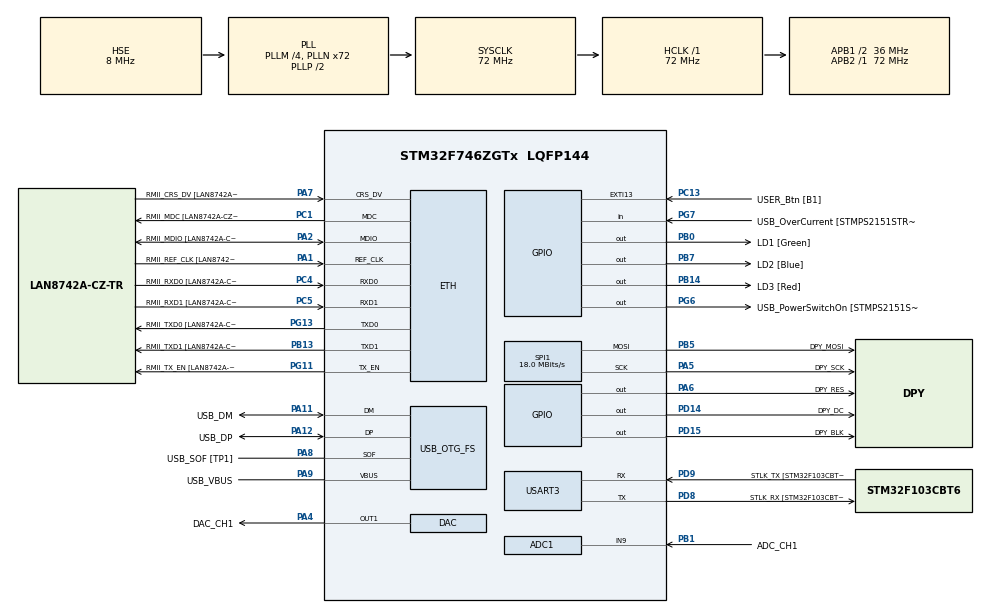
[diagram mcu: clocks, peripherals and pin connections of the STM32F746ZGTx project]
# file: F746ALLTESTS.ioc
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ADC1.Channel-0\#ChannelRegularConversion=ADC_CHANNEL_9
ADC1.ClockPrescaler=ADC_CLOCK_SYNC_PCLK_DIV2
ADC1.ContinuousConvMode=DISABLE
ADC1.DMAContinuousRequests=DISABLE
ADC1.DiscontinuousConvMode=DISABLE
ADC1.ExternalTrigConv=ADC_EXTERNALTRIGCONV_T4_TRGO
ADC1.NbrOfConversion=1
ADC1.NbrOfConversionFlag=1
ADC1.Rank-0\#ChannelRegularConversion=1
ADC1.SamplingTime-0\#ChannelRegularConversion=ADC_SAMPLETIME_144CYCLES
ADC1.ScanConvMode=ADC_SCAN_DISABLE
ADC1.master=1
Dma.ADC1.0.Direction=DMA_PERIPH_TO_MEMORY
Dma.ADC1.0.FIFOMode=DMA_FIFOMODE_ENABLE
Dma.ADC1.0.FIFOThreshold=DMA_FIFO_THRESHOLD_FULL
Dma.ADC1.0.Instance=DMA2_Stream0
Dma.ADC1.0.MemBurst=DMA_MBURST_SINGLE
Dma.ADC1.0.MemDataAlignment=DMA_MDATAALIGN_HALFWORD
Dma.ADC1.0.MemInc=DMA_MINC_ENABLE
Dma.ADC1.0.Mode=DMA_NORMAL
Dma.ADC1.0.PeriphBurst=DMA_PBURST_SINGLE
Dma.ADC1.0.PeriphDataAlignment=DMA_PDATAALIGN_HALFWORD
Dma.ADC1.0.PeriphInc=DMA_PINC_DISABLE
Dma.ADC1.0.Priority=DMA_PRIORITY_HIGH
Dma.MEMTOMEM.2.Direction=DMA_MEMORY_TO_MEMORY
Dma.MEMTOMEM.2.FIFOMode=DMA_FIFOMODE_ENABLE
Dma.MEMTOMEM.2.FIFOThreshold=DMA_FIFO_THRESHOLD_FULL
Dma.MEMTOMEM.2.Instance=DMA2_Stream1
Dma.MEMTOMEM.2.MemBurst=DMA_MBURST_SINGLE
Dma.MEMTOMEM.2.MemDataAlignment=DMA_MDATAALIGN_BYTE
Dma.MEMTOMEM.2.MemInc=DMA_MINC_ENABLE
Dma.MEMTOMEM.2.Mode=DMA_NORMAL
Dma.MEMTOMEM.2.PeriphBurst=DMA_PBURST_SINGLE
Dma.MEMTOMEM.2.PeriphDataAlignment=DMA_PDATAALIGN_BYTE
Dma.MEMTOMEM.2.PeriphInc=DMA_PINC_ENABLE
Dma.MEMTOMEM.2.Priority=DMA_PRIORITY_LOW
Dma.Request0=ADC1
Dma.Request1=SPI1_TX
Dma.Request2=MEMTOMEM
Dma.SPI1_TX.1.Direction=DMA_MEMORY_TO_PERIPH
Dma.SPI1_TX.1.FIFOMode=DMA_FIFOMODE_ENABLE
Dma.SPI1_TX.1.FIFOThreshold=DMA_FIFO_THRESHOLD_FULL
Dma.SPI1_TX.1.Instance=DMA2_Stream3
Dma.SPI1_TX.1.MemBurst=DMA_MBURST_SINGLE
Dma.SPI1_TX.1.MemDataAlignment=DMA_MDATAALIGN_BYTE
Dma.SPI1_TX.1.MemInc=DMA_MINC_ENABLE
Dma.SPI1_TX.1.Mode=DMA_NORMAL
Dma.SPI1_TX.1.PeriphBurst=DMA_PBURST_SINGLE
Dma.SPI1_TX.1.PeriphDataAlignment=DMA_PDATAALIGN_BYTE
Dma.SPI1_TX.1.PeriphInc=DMA_PINC_DISABLE
Dma.SPI1_TX.1.Priority=DMA_PRIORITY_VERY_HIGH
ETH.MediaInterface=HAL_ETH_RMII_MODE
ETH.PHY_Name=LAN8742A_PHY_ADDRESS
ETH.PHY_Value=0
ETH.PhyAddress=0
Mcu.Family=STM32F7
Mcu.Name=STM32F746ZGTx
Mcu.Package=LQFP144
NVIC.ADC_IRQn=true\:0\:0\:false\:false\:true\:true\:true\:true
NVIC.DMA2_Stream0_IRQn=true\:0\:0\:false\:false\:true\:false\:true\:true
NVIC.DMA2_Stream3_IRQn=true\:0\:0\:false\:false\:true\:false\:true\:true
NVIC.PriorityGroup=NVIC_PRIORITYGROUP_4
NVIC.SPI1_IRQn=true\:0\:0\:false\:false\:true\:true\:true\:true
NVIC.TIM3_IRQn=true\:0\:0\:false\:false\:true\:true\:true\:true
NVIC.TIM5_IRQn=true\:0\:0\:false\:false\:true\:true\:true\:true
PA1.GPIO_Label=RMII_REF_CLK [LAN8742A-CZ-TR_REFCLK0]
PA1.Mode=RMII
PA1.Signal=ETH_REF_CLK
PA10.GPIO_Label=USB_ID
PA10.Signal=USB_OTG_FS_ID
PA11.GPIO_Label=USB_DM
PA11.Mode=Device_Only
PA11.Signal=USB_OTG_FS_DM
PA12.GPIO_Label=USB_DP
PA12.Mode=Device_Only
PA12.Signal=USB_OTG_FS_DP
PA13.GPIO_Label=TMS
PA13.Mode=Serial_Wire
PA13.Signal=SYS_JTMS-SWDIO
PA14.GPIO_Label=TCK
PA14.Mode=Serial_Wire
PA14.Signal=SYS_JTCK-SWCLK
PA2.GPIO_Label=RMII_MDIO [LAN8742A-CZ-TR_MDIO]
PA2.Mode=RMII
PA2.Signal=ETH_MDIO
PA4.GPIO_Label=DAC_CH1
PA4.Signal=COMP_DAC1_group
PA5.GPIO_Label=DPY_SCK
PA5.Mode=TX_Only_Simplex_Unidirect_Master
PA5.Signal=SPI1_SCK
PA6.GPIO_Label=DPY_RES
PA6.Signal=GPIO_Output
PA7.GPIO_Label=RMII_CRS_DV [LAN8742A-CZ-TR_CRS_DV]
PA7.Mode=RMII
PA7.Signal=ETH_CRS_DV
PA8.GPIO_Label=USB_SOF [TP1]
PA8.Mode=Activate_SOF_FS
PA8.Signal=USB_OTG_FS_SOF
PA9.GPIO_Label=USB_VBUS
PA9.Mode=Activate_VBUS
PA9.Signal=USB_OTG_FS_VBUS
PB0.GPIO_Label=LD1 [Green]
PB0.Signal=GPIO_Output
PB1.GPIO_Label=ADC_CH1
PB1.Signal=ADCx_IN9
PB13.GPIO_Label=RMII_TXD1 [LAN8742A-CZ-TR_TXD1]
PB13.Mode=RMII
PB13.Signal=ETH_TXD1
PB14.GPIO_Label=LD3 [Red]
PB14.Signal=GPIO_Output
PB3.GPIO_Label=SW0
PB3.Signal=SYS_JTDO-SWO
PB5.GPIO_Label=DPY_MOSI
PB5.Mode=TX_Only_Simplex_Unidirect_Master
PB5.Signal=SPI1_MOSI
PB7.GPIO_Label=LD2 [Blue]
PB7.Signal=GPIO_Output
PC1.GPIO_Label=RMII_MDC [LAN8742A-CZ-TR_MDC]
PC1.Mode=RMII
PC1.Signal=ETH_MDC
PC13.GPIO_Label=USER_Btn [B1]
PC13.Signal=GPXTI13
PC14/OSC32_IN.Mode=LSE-External-Oscillator
PC14/OSC32_IN.Signal=RCC_OSC32_IN
PC15/OSC32_OUT.Mode=LSE-External-Oscillator
PC15/OSC32_OUT.Signal=RCC_OSC32_OUT
PC4.GPIO_Label=RMII_RXD0 [LAN8742A-CZ-TR_RXD0]
PC4.Mode=RMII
PC4.Signal=ETH_RXD0
PC5.GPIO_Label=RMII_RXD1 [LAN8742A-CZ-TR_RXD1]
PC5.Mode=RMII
PC5.Signal=ETH_RXD1
PD14.GPIO_Label=DPY_DC
PD14.Signal=GPIO_Output
PD15.GPIO_Label=DPY_BLK
PD15.Signal=GPIO_Output
PD8.GPIO_Label=STLK_RX [STM32F103CBT6_PA3]
PD8.GPIO_PuPd=GPIO_PULLUP
PD8.Mode=Asynchronous
PD8.Signal=USART3_TX
PD9.GPIO_Label=STLK_TX [STM32F103CBT6_PA2]
PD9.GPIO_PuPd=GPIO_PULLUP
PD9.Mode=Asynchronous
PD9.Signal=USART3_RX
PG11.GPIO_Label=RMII_TX_EN [LAN8742A-CZ-TR_TXEN]
PG11.Mode=RMII
PG11.Signal=ETH_TX_EN
PG13.GPIO_Label=RMII_TXD0 [LAN8742A-CZ-TR_TXD0]
PG13.Mode=RMII
PG13.Signal=ETH_TXD0
PG6.GPIO_Label=USB_PowerSwitchOn [STMPS2151STR_EN]
PG6.Signal=GPIO_Output
PG7.GPIO_Label=USB_OverCurrent [STMPS2151STR_FAULT]
PG7.Signal=GPIO_Input
PH0/OSC_IN.GPIO_Label=MCO [STM32F103CBT6_PA8]
PH0/OSC_IN.Mode=HSE-External-Clock-Source
PH0/OSC_IN.Signal=RCC_OSC_IN
PH1/OSC_OUT.Mode=HSE-External-Clock-Source
PH1/OSC_OUT.Signal=RCC_OSC_OUT
ProjectManager.HeapSize=0x200
ProjectManager.StackSize=0x400
ProjectManager.TargetToolchain=STM32CubeIDE
RCC.48MHZClocksFreq_Value=24000000
RCC.AHBFreq_Value=72000000
RCC.APB1CLKDivider=RCC_HCLK_DIV2
RCC.APB1Freq_Value=36000000
RCC.APB1TimFreq_Value=72000000
RCC.APB2Freq_Value=72000000
RCC.APB2TimFreq_Value=72000000
RCC.CortexFreq_Value=72000000
RCC.HCLKFreq_Value=72000000
RCC.HSE_VALUE=8000000
RCC.HSI_VALUE=16000000
RCC.PLLM=4
RCC.PLLMUL=RCC_PLL_MUL9
RCC.PLLN=72
RCC.PLLQ=3
RCC.PRESCALERUSB=RCC_USBCLKSOURCE_PLL_DIV1_5
RCC.SYSCLKFreq_VALUE=72000000
RCC.SYSCLKSource=RCC_SYSCLKSOURCE_PLLCLK
RCC.SYSCLKSourceVirtual=RCC_SYSCLKSOURCE_PLLCLK
RCC.USBFreq_Value=48000000
RCC.VCOOutputFreq_Value=144000000
SH.ADCx_IN9.0=ADC1_IN9,IN9
SH.COMP_DAC1_group.0=DAC_OUT1,DAC_OUT1
SPI1.BaudRatePrescaler=SPI_BAUDRATEPRESCALER_4
SPI1.CLKPolarity=SPI_POLARITY_HIGH
SPI1.CalculateBaudRate=18.0 MBits/s
SPI1.DataSize=SPI_DATASIZE_8BIT
SPI1.Direction=SPI_DIRECTION_2LINES
SPI1.Mode=SPI_MODE_MASTER
SPI1.NSSPMode=SPI_NSS_PULSE_DISABLE
SPI1.VirtualType=VM_MASTER
TIM3.AutoReloadPreload=TIM_AUTORELOAD_PRELOAD_ENABLE
TIM3.Period=7200
TIM3.Prescaler=10000
TIM4.TIM_MasterOutputTrigger=TIM_TRGO_UPDATE
TIM5.AutoReloadPreload=TIM_AUTORELOAD_PRELOAD_ENABLE
USART3.VirtualMode-Asynchronous=VM_ASYNC
USB_OTG_FS.VirtualMode=Device_Only
VP_TIM3_VS_ClockSourceINT.Mode=Internal
VP_TIM4_VS_ClockSourceINT.Mode=Internal
VP_TIM5_VS_ClockSourceINT.Mode=Internal
board=NUCLEO-F746ZG

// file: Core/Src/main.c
/* USER CODE BEGIN Header */
/**
 ******************************************************************************
 * @file           : main.c
 * @brief          : Main program body
 ******************************************************************************
 * @attention
 *
 * Copyright (c) 2023 STMicroelectronics.
 * All rights reserved.
 *
 * This software is licensed under terms that can be found in the LICENSE file
 * in the root directory of this software component.
 * If no LICENSE file comes with this software, it is provided AS-IS.
 *
 ******************************************************************************
 */
/* USER CODE END Header */
#include "main.h"
#include "string.h"

/* USER CODE BEGIN Includes */
#include <stdio.h> // removes warning: implicit declaration of a function
#include "st7789.h"
/* USER CODE END Includes */

/* USER CODE BEGIN PTD */
typedef struct
{
	float Tcyc;
	float D;
	float Vnorm;
	float Tacc;
	float Tnorm;
	float v1;
	float t1;
	float t2;
	float t3;
	float a1;
	float a2;
	float a3;
	float angle;
	float velocity;
	uint8_t running;
	uint8_t stopping;
	uint8_t start_rq;
	uint32_t start_rq_cycles;
	uint32_t encoder[10];
} MOT_Control_Params;
/* USER CODE END PTD */

/* USER CODE BEGIN PD */
#define ADC_TIMEOUT       100
#define ADC_VREF          3.3     // V
#define MOT_ACCEL         6.28    // rad/s^2
#define MOT_MAX_CYC_TIME  10.0    // s
#define MOT_MAX_DPT       1.0     // 0..1 (0..100%)
#define MOT_ENCODER_360   2.92    // V
#define MOT_CTRL_Kp       2.0     // proportional coefficient
#define PI                3.1415926

#define ADC_BITS      0x0FFF
#define ADC_0V_VALUE  0
#define ADC_1V_VALUE  1241
#define ADC_2V_VALUE  2482
#define ADC_3V_VALUE  3723

#define TIM5_MHZ  72
/* USER CODE END PD */

#if defined ( __ICCARM__ ) /*!< IAR Compiler */
#pragma location=0x2004c000
ETH_DMADescTypeDef  DMARxDscrTab[ETH_RX_DESC_CNT]; /* Ethernet Rx DMA Descriptors */
#pragma location=0x2004c0a0
ETH_DMADescTypeDef  DMATxDscrTab[ETH_TX_DESC_CNT]; /* Ethernet Tx DMA Descriptors */

#elif defined ( __CC_ARM )  /* MDK ARM Compiler */

__attribute__((at(0x2004c000))) ETH_DMADescTypeDef  DMARxDscrTab[ETH_RX_DESC_CNT]; /* Ethernet Rx DMA Descriptors */
__attribute__((at(0x2004c0a0))) ETH_DMADescTypeDef  DMATxDscrTab[ETH_TX_DESC_CNT]; /* Ethernet Tx DMA Descriptors */

#elif defined ( __GNUC__ ) /* GNU Compiler */
ETH_DMADescTypeDef DMARxDscrTab[ETH_RX_DESC_CNT] __attribute__((section(".RxDecripSection"))); /* Ethernet Rx DMA Descriptors */
ETH_DMADescTypeDef DMATxDscrTab[ETH_TX_DESC_CNT] __attribute__((section(".TxDecripSection")));   /* Ethernet Tx DMA Descriptors */

#endif

ETH_TxPacketConfig TxConfig;

ADC_HandleTypeDef hadc1;
DMA_HandleTypeDef hdma_adc1;

DAC_HandleTypeDef hdac;

ETH_HandleTypeDef heth;

SPI_HandleTypeDef hspi1;
DMA_HandleTypeDef hdma_spi1_tx;

TIM_HandleTypeDef htim3;
TIM_HandleTypeDef htim4;
TIM_HandleTypeDef htim5;

UART_HandleTypeDef huart3;

PCD_HandleTypeDef hpcd_USB_OTG_FS;

DMA_HandleTypeDef hdma_memtomem_dma2_stream1;
/* USER CODE BEGIN PV */
uint32_t GLOBAL_VAR_32BIT = 0;
// ADCx conversion results
uint32_t ADC1_VALUE = 0;
uint32_t ADC2_VALUE = 0;
uint32_t ADC3_VALUE = 0;
// Control
MOT_Control_Params MOT;
// Time measurements
uint32_t LOOP_START_TIME = 0;
uint32_t LOOP_EXEC_TIME = 0;
uint32_t LOOP_CYCLE_TIME = 0;
uint32_t MAIN_START_TIME = 0;
uint32_t MAIN_EXEC_TIME = 0;
uint32_t MAIN_CYCLE_TIME = 0;

// Display diagnostic strings
char DPY_adc1[24];
char DPY_par0[24];
char DPY_par1[24];
char DPY_par2[24];
char DPY_par3[24];
char DPY_par4[24];
char DPY_par5[24];
char DPY_par6[24];
char DPY_par7[24];
char DPY_par8[24];
char DPY_par9[24];
uint32_t CycleCount = 0;
GPIO_PinState PS3 = GPIO_PIN_RESET;

//uint16_t adcBuf[BUFFER_LEN];             // this is where we'll store waveform data from ADC
uint16_t dpyBuf[BUFFER_LEN];             // this is where we'll store waveform data for display
uint16_t dpyBuf_prev[BUFFER_LEN];             // this is where we'll store previous waveform data for display
//volatile uint8_t finishedConversion = 0; // this lets us know when we're done capturing data
volatile uint32_t ADC_ConvCpltCallback_TimeStamp = 0;
volatile uint32_t ADC_ConvCycleTime = 0;
volatile uint32_t DPY_DisplayFBTime = 0;
volatile uint8_t dpyBufLocked = 0;

uint32_t adc_val;
/* USER CODE END PV */

void SystemClock_Config(void);
static void MX_GPIO_Init(void);
static void MX_DMA_Init(void);
static void MX_USART3_UART_Init(void);
static void MX_USB_OTG_FS_PCD_Init(void);
static void MX_ADC1_Init(void);
static void MX_SPI1_Init(void);
static void MX_DAC_Init(void);
static void MX_TIM5_Init(void);
static void MX_ETH_Init(void);
static void MX_TIM4_Init(void);
static void MX_TIM3_Init(void);

/* USER CODE BEGIN 0 */
// Display update
void DPY_ScreenUpdate()
{
	// Screen update

	ST7789_WriteString_Fast(0, 0, (char*) DPY_adc1, Font_11x18, YELLOW, BLUE);
	ST7789_WriteString_Fast(0, 15, (char*) DPY_par0, Font_11x18, YELLOW, BLUE);
	ST7789_WriteString_Fast(0, 30, (char*) DPY_par1, Font_11x18, YELLOW, BLUE);
	ST7789_WriteString_Fast(0, 45, (char*) DPY_par2, Font_11x18, YELLOW, BLUE);
	ST7789_WriteString_Fast(0, 60, (char*) DPY_par3, Font_11x18, YELLOW, BLUE);
	ST7789_WriteString_Fast(0, 75, (char*) DPY_par4, Font_11x18, YELLOW, BLUE);
	ST7789_WriteString_Fast(0, 90, (char*) DPY_par5, Font_11x18, YELLOW, BLUE);
	ST7789_WriteString_Fast(0, 105, (char*) DPY_par6, Font_11x18, YELLOW, BLUE);
	ST7789_WriteString_Fast(0, 120, (char*) DPY_par7, Font_11x18, YELLOW, BLUE);
	ST7789_WriteString_Fast(0, 135, (char*) DPY_par8, Font_11x18, YELLOW, BLUE);
	ST7789_WriteString_Fast(0, 150, (char*) DPY_par9, Font_11x18, YELLOW, BLUE);

}

void DrawScope(uint16_t *buff, uint16_t length, uint16_t color)
{
	uint16_t i, x0, y0, x1, y1;

	x0 = 0;
	y0 = ST7789_HEIGHT * buff[0] / ADC_BITS;

	for (i = 0; i < length; i++)
	{
		if (i >= ST7789_WIDTH)
			break;
		x1 = i;
		y1 = ST7789_HEIGHT * buff[i] / ADC_BITS;
		ST7789_DrawLine_BUF(x0, y0, x1, y1, color);
		x0 = x1;
		y0 = y1;

	}
}
/* USER CODE END 0 */

int main(void)
{

  /* MCU Configuration--------------------------------------------------------*/

  /* Reset of all peripherals, Initializes the Flash interface and the Systick. */
  HAL_Init();

  /* Configure the system clock */
  SystemClock_Config();

  /* Initialize all configured peripherals */
  MX_GPIO_Init();
  MX_DMA_Init();
  MX_USART3_UART_Init();
  MX_USB_OTG_FS_PCD_Init();
  MX_ADC1_Init();
  MX_SPI1_Init();
  MX_DAC_Init();
  MX_TIM5_Init();
  MX_ETH_Init();
  MX_TIM4_Init();
  MX_TIM3_Init();
  /* USER CODE BEGIN 2 */
  scopeInit();
	HAL_Delay(3000);
	{
		uint8_t tx[] = "-----------------------------------------\r\n";
		HAL_UART_Transmit(&huart3, tx, sizeof(tx), 100);
	}

/*
	// Start timer TIM3 for framebuffer display
	if (HAL_TIM_Base_Start_IT(&htim3) != HAL_OK)
		Error_Handler();
*/ /*
	// Start timer TIM5 for microseconds counting
	if (HAL_TIM_Base_Start_IT(&htim5) != HAL_OK)
		Error_Handler();
*/ /*
	// start timer TIM4 for pwm generation
	if (HAL_TIM_PWM_Start(&htim4, TIM_CHANNEL_1) != HAL_OK)
		Error_Handler();

	memset(adcBuf, 0, sizeof(adcBuf));
	*/
  /* USER CODE END 2 */

  /* Infinite loop */
  /* USER CODE BEGIN WHILE */

	ST7789_Fill_Color_BUF(DARKBLUE);
/*
	{
		uint8_t tx[] = "HAL_ADC_Start_DMA() started...\r\n";
		HAL_UART_Transmit(&huart3, tx, sizeof(tx), 100);
	}

	finishedConversion = 0;
	if (HAL_ADC_Start_DMA(&hadc1, (uint32_t*) adcBuf, BUFFER_LEN) != HAL_OK)
		Error_Handler();

	while (!finishedConversion)	{};

	{
		uint8_t tx[] = "HAL_ADC_Start_DMA() conversion done.\r\n";
		HAL_UART_Transmit(&huart3, tx, sizeof(tx), 100);
	}
*/
	while (1)
	{
    /* USER CODE END WHILE */

    /* USER CODE BEGIN 3 */
		/*
		uint32_t timer_start = htim5.Instance->CNT;
		MAIN_CYCLE_TIME = htim5.Instance->CNT - MAIN_START_TIME;
		MAIN_START_TIME = timer_start;

		uint32_t timer_s1 = htim5.Instance->CNT;
		dpyBufLocked = 1;
		//DrawScope(dpyBuf_prev, BUFFER_LEN, BLACK);
		//DrawScope(dpyBuf, BUFFER_LEN, WHITE);
		memcpy(dpyBuf_prev, dpyBuf, sizeof(dpyBuf_prev));
		dpyBufLocked = 0;
		uint32_t timer_s2 = htim5.Instance->CNT;

		// Profiling
		MAIN_EXEC_TIME = htim5.Instance->CNT - MAIN_START_TIME;

		sprintf(DPY_adc1, "ADC Cycle = %d us", (int) ADC_ConvCycleTime);
		ST7789_WriteString_BUF(0, 0, DPY_adc1, Font_11x18, YELLOW, BLUE);

		sprintf(DPY_par0, "DPY FB Time = %d us", (int) DPY_DisplayFBTime);
		ST7789_WriteString_BUF(0, 15, DPY_par0, Font_11x18, YELLOW, BLUE);

		sprintf(DPY_par0, "Draw Time = %d us", (int) ((timer_s2 - timer_s1) / TIM5_MHZ));
		ST7789_WriteString_BUF(0, 30, DPY_par0, Font_11x18, YELLOW, BLUE);

		HAL_GPIO_TogglePin(LD3_GPIO_Port, LD3_Pin);

		uint32_t start = htim5.Instance->CNT;
		ST7789_Display_BUF();
		uint32_t finish = htim5.Instance->CNT;
		DPY_DisplayFBTime = (finish - start) / TIM5_MHZ;

		HAL_Delay(250);
		*/
		scopeLoop();
	}
  /* USER CODE END 3 */
}

void SystemClock_Config(void)
{
  RCC_OscInitTypeDef RCC_OscInitStruct = {0};
  RCC_ClkInitTypeDef RCC_ClkInitStruct = {0};

  /** Configure LSE Drive Capability
  */
  HAL_PWR_EnableBkUpAccess();

  /** Configure the main internal regulator output voltage
  */
  __HAL_RCC_PWR_CLK_ENABLE();
  __HAL_PWR_VOLTAGESCALING_CONFIG(PWR_REGULATOR_VOLTAGE_SCALE3);

  /** Initializes the RCC Oscillators according to the specified parameters
  * in the RCC_OscInitTypeDef structure.
  */
  RCC_OscInitStruct.OscillatorType = RCC_OSCILLATORTYPE_HSE;
  RCC_OscInitStruct.HSEState = RCC_HSE_BYPASS;
  RCC_OscInitStruct.PLL.PLLState = RCC_PLL_ON;
  RCC_OscInitStruct.PLL.PLLSource = RCC_PLLSOURCE_HSE;
  RCC_OscInitStruct.PLL.PLLM = 4;
  RCC_OscInitStruct.PLL.PLLN = 72;
  RCC_OscInitStruct.PLL.PLLP = RCC_PLLP_DIV2;
  RCC_OscInitStruct.PLL.PLLQ = 3;
  if (HAL_RCC_OscConfig(&RCC_OscInitStruct) != HAL_OK)
  {
    Error_Handler();
  }

  /** Initializes the CPU, AHB and APB buses clocks
  */
  RCC_ClkInitStruct.ClockType = RCC_CLOCKTYPE_HCLK|RCC_CLOCKTYPE_SYSCLK
                              |RCC_CLOCKTYPE_PCLK1|RCC_CLOCKTYPE_PCLK2;
  RCC_ClkInitStruct.SYSCLKSource = RCC_SYSCLKSOURCE_PLLCLK;
  RCC_ClkInitStruct.AHBCLKDivider = RCC_SYSCLK_DIV1;
  RCC_ClkInitStruct.APB1CLKDivider = RCC_HCLK_DIV2;
  RCC_ClkInitStruct.APB2CLKDivider = RCC_HCLK_DIV1;

  if (HAL_RCC_ClockConfig(&RCC_ClkInitStruct, FLASH_LATENCY_2) != HAL_OK)
  {
    Error_Handler();
  }
}

static void MX_ADC1_Init(void)
{

  ADC_ChannelConfTypeDef sConfig = {0};

  /** Configure the global features of the ADC (Clock, Resolution, Data Alignment and number of conversion)
  */
  hadc1.Instance = ADC1;
  hadc1.Init.ClockPrescaler = ADC_CLOCK_SYNC_PCLK_DIV2;
  hadc1.Init.Resolution = ADC_RESOLUTION_12B;
  hadc1.Init.ScanConvMode = ADC_SCAN_DISABLE;
  hadc1.Init.ContinuousConvMode = DISABLE;
  hadc1.Init.DiscontinuousConvMode = DISABLE;
  hadc1.Init.ExternalTrigConvEdge = ADC_EXTERNALTRIGCONVEDGE_RISING;
  hadc1.Init.ExternalTrigConv = ADC_EXTERNALTRIGCONV_T4_TRGO;
  hadc1.Init.DataAlign = ADC_DATAALIGN_RIGHT;
  hadc1.Init.NbrOfConversion = 1;
  hadc1.Init.DMAContinuousRequests = DISABLE;
  hadc1.Init.EOCSelection = ADC_EOC_SINGLE_CONV;
  if (HAL_ADC_Init(&hadc1) != HAL_OK)
  {
    Error_Handler();
  }

  /** Configure for the selected ADC regular channel its corresponding rank in the sequencer and its sample time.
  */
  sConfig.Channel = ADC_CHANNEL_9;
  sConfig.Rank = ADC_REGULAR_RANK_1;
  sConfig.SamplingTime = ADC_SAMPLETIME_144CYCLES;
  if (HAL_ADC_ConfigChannel(&hadc1, &sConfig) != HAL_OK)
  {
    Error_Handler();
  }

}

static void MX_DAC_Init(void)
{

  DAC_ChannelConfTypeDef sConfig = {0};

  /** DAC Initialization
  */
  hdac.Instance = DAC;
  if (HAL_DAC_Init(&hdac) != HAL_OK)
  {
    Error_Handler();
  }

  /** DAC channel OUT1 config
  */
  sConfig.DAC_Trigger = DAC_TRIGGER_NONE;
  sConfig.DAC_OutputBuffer = DAC_OUTPUTBUFFER_ENABLE;
  if (HAL_DAC_ConfigChannel(&hdac, &sConfig, DAC_CHANNEL_1) != HAL_OK)
  {
    Error_Handler();
  }

}

static void MX_ETH_Init(void)
{

   static uint8_t MACAddr[6];

  heth.Instance = ETH;
  MACAddr[0] = 0x00;
  MACAddr[1] = 0x80;
  MACAddr[2] = 0xE1;
  MACAddr[3] = 0x00;
  MACAddr[4] = 0x00;
  MACAddr[5] = 0x00;
  heth.Init.MACAddr = &MACAddr[0];
  heth.Init.MediaInterface = HAL_ETH_RMII_MODE;
  heth.Init.TxDesc = DMATxDscrTab;
  heth.Init.RxDesc = DMARxDscrTab;
  heth.Init.RxBuffLen = 1524;

  if (HAL_ETH_Init(&heth) != HAL_OK)
  {
    Error_Handler();
  }

  memset(&TxConfig, 0 , sizeof(ETH_TxPacketConfig));
  TxConfig.Attributes = ETH_TX_PACKETS_FEATURES_CSUM | ETH_TX_PACKETS_FEATURES_CRCPAD;
  TxConfig.ChecksumCtrl = ETH_CHECKSUM_IPHDR_PAYLOAD_INSERT_PHDR_CALC;
  TxConfig.CRCPadCtrl = ETH_CRC_PAD_INSERT;

}

static void MX_SPI1_Init(void)
{

  /* SPI1 parameter configuration*/
  hspi1.Instance = SPI1;
  hspi1.Init.Mode = SPI_MODE_MASTER;
  hspi1.Init.Direction = SPI_DIRECTION_2LINES;
  hspi1.Init.DataSize = SPI_DATASIZE_8BIT;
  hspi1.Init.CLKPolarity = SPI_POLARITY_HIGH;
  hspi1.Init.CLKPhase = SPI_PHASE_1EDGE;
  hspi1.Init.NSS = SPI_NSS_SOFT;
  hspi1.Init.BaudRatePrescaler = SPI_BAUDRATEPRESCALER_4;
  hspi1.Init.FirstBit = SPI_FIRSTBIT_MSB;
  hspi1.Init.TIMode = SPI_TIMODE_DISABLE;
  hspi1.Init.CRCCalculation = SPI_CRCCALCULATION_DISABLE;
  hspi1.Init.CRCPolynomial = 7;
  hspi1.Init.CRCLength = SPI_CRC_LENGTH_DATASIZE;
  hspi1.Init.NSSPMode = SPI_NSS_PULSE_DISABLE;
  if (HAL_SPI_Init(&hspi1) != HAL_OK)
  {
    Error_Handler();
  }

}

static void MX_TIM3_Init(void)
{

  TIM_ClockConfigTypeDef sClockSourceConfig = {0};
  TIM_MasterConfigTypeDef sMasterConfig = {0};

  htim3.Instance = TIM3;
  htim3.Init.Prescaler = 10000;
  htim3.Init.CounterMode = TIM_COUNTERMODE_UP;
  htim3.Init.Period = 7200;
  htim3.Init.ClockDivision = TIM_CLOCKDIVISION_DIV1;
  htim3.Init.AutoReloadPreload = TIM_AUTORELOAD_PRELOAD_ENABLE;
  if (HAL_TIM_Base_Init(&htim3) != HAL_OK)
  {
    Error_Handler();
  }
  sClockSourceConfig.ClockSource = TIM_CLOCKSOURCE_INTERNAL;
  if (HAL_TIM_ConfigClockSource(&htim3, &sClockSourceConfig) != HAL_OK)
  {
    Error_Handler();
  }
  sMasterConfig.MasterOutputTrigger = TIM_TRGO_RESET;
  sMasterConfig.MasterSlaveMode = TIM_MASTERSLAVEMODE_DISABLE;
  if (HAL_TIMEx_MasterConfigSynchronization(&htim3, &sMasterConfig) != HAL_OK)
  {
    Error_Handler();
  }

}

static void MX_TIM4_Init(void)
{

  TIM_ClockConfigTypeDef sClockSourceConfig = {0};
  TIM_MasterConfigTypeDef sMasterConfig = {0};

  htim4.Instance = TIM4;
  htim4.Init.Prescaler = 0;
  htim4.Init.CounterMode = TIM_COUNTERMODE_UP;
  htim4.Init.Period = 65535;
  htim4.Init.ClockDivision = TIM_CLOCKDIVISION_DIV1;
  htim4.Init.AutoReloadPreload = TIM_AUTORELOAD_PRELOAD_DISABLE;
  if (HAL_TIM_Base_Init(&htim4) != HAL_OK)
  {
    Error_Handler();
  }
  sClockSourceConfig.ClockSource = TIM_CLOCKSOURCE_INTERNAL;
  if (HAL_TIM_ConfigClockSource(&htim4, &sClockSourceConfig) != HAL_OK)
  {
    Error_Handler();
  }
  sMasterConfig.MasterOutputTrigger = TIM_TRGO_UPDATE;
  sMasterConfig.MasterSlaveMode = TIM_MASTERSLAVEMODE_DISABLE;
  if (HAL_TIMEx_MasterConfigSynchronization(&htim4, &sMasterConfig) != HAL_OK)
  {
    Error_Handler();
  }

}

static void MX_TIM5_Init(void)
{

  TIM_ClockConfigTypeDef sClockSourceConfig = {0};
  TIM_MasterConfigTypeDef sMasterConfig = {0};

  htim5.Instance = TIM5;
  htim5.Init.Prescaler = 0;
  htim5.Init.CounterMode = TIM_COUNTERMODE_UP;
  htim5.Init.Period = 4294967295;
  htim5.Init.ClockDivision = TIM_CLOCKDIVISION_DIV1;
  htim5.Init.AutoReloadPreload = TIM_AUTORELOAD_PRELOAD_ENABLE;
  if (HAL_TIM_Base_Init(&htim5) != HAL_OK)
  {
    Error_Handler();
  }
  sClockSourceConfig.ClockSource = TIM_CLOCKSOURCE_INTERNAL;
  if (HAL_TIM_ConfigClockSource(&htim5, &sClockSourceConfig) != HAL_OK)
  {
    Error_Handler();
  }
  sMasterConfig.MasterOutputTrigger = TIM_TRGO_RESET;
  sMasterConfig.MasterSlaveMode = TIM_MASTERSLAVEMODE_DISABLE;
  if (HAL_TIMEx_MasterConfigSynchronization(&htim5, &sMasterConfig) != HAL_OK)
  {
    Error_Handler();
  }

}

static void MX_USART3_UART_Init(void)
{

  huart3.Instance = USART3;
  huart3.Init.BaudRate = 115200;
  huart3.Init.WordLength = UART_WORDLENGTH_8B;
  huart3.Init.StopBits = UART_STOPBITS_1;
  huart3.Init.Parity = UART_PARITY_NONE;
  huart3.Init.Mode = UART_MODE_TX_RX;
  huart3.Init.HwFlowCtl = UART_HWCONTROL_NONE;
  huart3.Init.OverSampling = UART_OVERSAMPLING_16;
  huart3.Init.OneBitSampling = UART_ONE_BIT_SAMPLE_DISABLE;
  huart3.AdvancedInit.AdvFeatureInit = UART_ADVFEATURE_NO_INIT;
  if (HAL_UART_Init(&huart3) != HAL_OK)
  {
    Error_Handler();
  }

}

static void MX_USB_OTG_FS_PCD_Init(void)
{

  hpcd_USB_OTG_FS.Instance = USB_OTG_FS;
  hpcd_USB_OTG_FS.Init.dev_endpoints = 6;
  hpcd_USB_OTG_FS.Init.speed = PCD_SPEED_FULL;
  hpcd_USB_OTG_FS.Init.dma_enable = DISABLE;
  hpcd_USB_OTG_FS.Init.phy_itface = PCD_PHY_EMBEDDED;
  hpcd_USB_OTG_FS.Init.Sof_enable = ENABLE;
  hpcd_USB_OTG_FS.Init.low_power_enable = DISABLE;
  hpcd_USB_OTG_FS.Init.lpm_enable = DISABLE;
  hpcd_USB_OTG_FS.Init.vbus_sensing_enable = ENABLE;
  hpcd_USB_OTG_FS.Init.use_dedicated_ep1 = DISABLE;
  if (HAL_PCD_Init(&hpcd_USB_OTG_FS) != HAL_OK)
  {
    Error_Handler();
  }

}

static void MX_DMA_Init(void)
{

  /* DMA controller clock enable */
  __HAL_RCC_DMA2_CLK_ENABLE();

  /* Configure DMA request hdma_memtomem_dma2_stream1 on DMA2_Stream1 */
  hdma_memtomem_dma2_stream1.Instance = DMA2_Stream1;
  hdma_memtomem_dma2_stream1.Init.Channel = DMA_CHANNEL_0;
  hdma_memtomem_dma2_stream1.Init.Direction = DMA_MEMORY_TO_MEMORY;
  hdma_memtomem_dma2_stream1.Init.PeriphInc = DMA_PINC_ENABLE;
  hdma_memtomem_dma2_stream1.Init.MemInc = DMA_MINC_ENABLE;
  hdma_memtomem_dma2_stream1.Init.PeriphDataAlignment = DMA_PDATAALIGN_BYTE;
  hdma_memtomem_dma2_stream1.Init.MemDataAlignment = DMA_MDATAALIGN_BYTE;
  hdma_memtomem_dma2_stream1.Init.Mode = DMA_NORMAL;
  hdma_memtomem_dma2_stream1.Init.Priority = DMA_PRIORITY_LOW;
  hdma_memtomem_dma2_stream1.Init.FIFOMode = DMA_FIFOMODE_ENABLE;
  hdma_memtomem_dma2_stream1.Init.FIFOThreshold = DMA_FIFO_THRESHOLD_FULL;
  hdma_memtomem_dma2_stream1.Init.MemBurst = DMA_MBURST_SINGLE;
  hdma_memtomem_dma2_stream1.Init.PeriphBurst = DMA_PBURST_SINGLE;
  if (HAL_DMA_Init(&hdma_memtomem_dma2_stream1) != HAL_OK)
  {
    Error_Handler( );
  }

  /* DMA interrupt init */
  /* DMA2_Stream0_IRQn interrupt configuration */
  HAL_NVIC_SetPriority(DMA2_Stream0_IRQn, 0, 0);
  HAL_NVIC_EnableIRQ(DMA2_Stream0_IRQn);
  /* DMA2_Stream3_IRQn interrupt configuration */
  HAL_NVIC_SetPriority(DMA2_Stream3_IRQn, 0, 0);
  HAL_NVIC_EnableIRQ(DMA2_Stream3_IRQn);

}

static void MX_GPIO_Init(void)
{
  GPIO_InitTypeDef GPIO_InitStruct = {0};

  /* GPIO Ports Clock Enable */
  __HAL_RCC_GPIOC_CLK_ENABLE();
  __HAL_RCC_GPIOH_CLK_ENABLE();
  __HAL_RCC_GPIOA_CLK_ENABLE();
  __HAL_RCC_GPIOB_CLK_ENABLE();
  __HAL_RCC_GPIOD_CLK_ENABLE();
  __HAL_RCC_GPIOG_CLK_ENABLE();

  /*Configure GPIO pin Output Level */
  HAL_GPIO_WritePin(DPY_RES_GPIO_Port, DPY_RES_Pin, GPIO_PIN_RESET);

  /*Configure GPIO pin Output Level */
  HAL_GPIO_WritePin(GPIOB, LD1_Pin|LD3_Pin|LD2_Pin, GPIO_PIN_RESET);

  /*Configure GPIO pin Output Level */
  HAL_GPIO_WritePin(GPIOD, DPY_DC_Pin|DPY_BLK_Pin, GPIO_PIN_RESET);

  /*Configure GPIO pin Output Level */
  HAL_GPIO_WritePin(USB_PowerSwitchOn_GPIO_Port, USB_PowerSwitchOn_Pin, GPIO_PIN_RESET);

  /*Configure GPIO pin : USER_Btn_Pin */
  GPIO_InitStruct.Pin = USER_Btn_Pin;
  GPIO_InitStruct.Mode = GPIO_MODE_IT_RISING;
  GPIO_InitStruct.Pull = GPIO_NOPULL;
  HAL_GPIO_Init(USER_Btn_GPIO_Port, &GPIO_InitStruct);

  /*Configure GPIO pin : DPY_RES_Pin */
  GPIO_InitStruct.Pin = DPY_RES_Pin;
  GPIO_InitStruct.Mode = GPIO_MODE_OUTPUT_PP;
  GPIO_InitStruct.Pull = GPIO_NOPULL;
  GPIO_InitStruct.Speed = GPIO_SPEED_FREQ_LOW;
  HAL_GPIO_Init(DPY_RES_GPIO_Port, &GPIO_InitStruct);

  /*Configure GPIO pins : LD1_Pin LD3_Pin LD2_Pin */
  GPIO_InitStruct.Pin = LD1_Pin|LD3_Pin|LD2_Pin;
  GPIO_InitStruct.Mode = GPIO_MODE_OUTPUT_PP;
  GPIO_InitStruct.Pull = GPIO_NOPULL;
  GPIO_InitStruct.Speed = GPIO_SPEED_FREQ_LOW;
  HAL_GPIO_Init(GPIOB, &GPIO_InitStruct);

  /*Configure GPIO pins : DPY_DC_Pin DPY_BLK_Pin */
  GPIO_InitStruct.Pin = DPY_DC_Pin|DPY_BLK_Pin;
  GPIO_InitStruct.Mode = GPIO_MODE_OUTPUT_PP;
  GPIO_InitStruct.Pull = GPIO_NOPULL;
  GPIO_InitStruct.Speed = GPIO_SPEED_FREQ_LOW;
  HAL_GPIO_Init(GPIOD, &GPIO_InitStruct);

  /*Configure GPIO pin : USB_PowerSwitchOn_Pin */
  GPIO_InitStruct.Pin = USB_PowerSwitchOn_Pin;
  GPIO_InitStruct.Mode = GPIO_MODE_OUTPUT_PP;
  GPIO_InitStruct.Pull = GPIO_NOPULL;
  GPIO_InitStruct.Speed = GPIO_SPEED_FREQ_LOW;
  HAL_GPIO_Init(USB_PowerSwitchOn_GPIO_Port, &GPIO_InitStruct);

  /*Configure GPIO pin : USB_OverCurrent_Pin */
  GPIO_InitStruct.Pin = USB_OverCurrent_Pin;
  GPIO_InitStruct.Mode = GPIO_MODE_INPUT;
  GPIO_InitStruct.Pull = GPIO_NOPULL;
  HAL_GPIO_Init(USB_OverCurrent_GPIO_Port, &GPIO_InitStruct);

}

/* USER CODE BEGIN 4 */
int __io_putchar(int ch)
{
  writeChar(ch);
  return ch;
}

void printFloat(float v, int decimalDigits, char s[])
{
  uint8_t neg = 0;
  if (v < 0)
  {
    neg = 1;
    v = v - (2.0 * v);
  }
  int i = 1;
  int intPart, fractPart;
  for (; decimalDigits != 0; i *= 10, decimalDigits--)
    ;
  intPart = (int)v;
  fractPart = (int)((v - (float)(int)v) * i);
  if (fractPart < 0)
    fractPart *= -1;
  if (neg)
    sprintf(s, "-%i.%i", intPart, fractPart);
  else
    sprintf(s, "%i.%i", intPart, fractPart);
}

void *dma_memcpy(void *destination, const void *source, size_t num){
  HAL_DMA_Start_IT(&hdma_memtomem_dma2_stream1, source, destination, num);
  while(HAL_DMA_GetState(&hdma_memtomem_dma2_stream1) != HAL_DMA_STATE_READY);
}

// Callback from roll over timers
void HAL_TIM_PeriodElapsedCallback(TIM_HandleTypeDef *htim)
{
	if (htim == &htim3)
	{
		{
			uint32_t start = htim5.Instance->CNT;
			//ST7789_Display_BUF();
			uint32_t finish = htim5.Instance->CNT;
			DPY_DisplayFBTime = (finish - start) / TIM5_MHZ;
		}
	}

	if (htim == &htim4)
	{
		{
			uint8_t tx[] = "HAL_TIM_PeriodElapsedCallback() - TIM4\r\n";
			HAL_UART_Transmit(&huart3, tx, sizeof(tx), 100);
		}
	}
	if (htim == &htim5)
	{
		{
			uint8_t tx[] = "HAL_TIM_PeriodElapsedCallback() - TIM5\r\n";
			HAL_UART_Transmit(&huart3, tx, sizeof(tx), 100);
		}
	}
}
/**
 * @brief  Conversion complete callback in non blocking mode
 * @param  AdcHandle : AdcHandle handle
 * @note   This example shows a simple way to report end of conversion
 *         and get conversion result. You can add your own implementation.
 * @retval None
 */
/*
void HAL_ADC_ConvCpltCallback(ADC_HandleTypeDef *hadc)
{
	uint32_t new_TimeStamp = htim5.Instance->CNT;
	uint32_t callbackCycleTime = new_TimeStamp - ADC_ConvCpltCallback_TimeStamp;
	ADC_ConvCpltCallback_TimeStamp = new_TimeStamp;
	finishedConversion = 1;
	ADC_ConvCycleTime = callbackCycleTime / TIM5_MHZ;
	if (!dpyBufLocked)
		memcpy(&dpyBuf, &adcBuf, sizeof(dpyBuf));

	if (hadc == &hadc1)
	{
	}

}
*/
/**
 * @brief  Conversion DMA half-transfer callback in non blocking mode
 * @param  hadc: ADC handle
 * @retval None
 */
void HAL_ADC_ConvHalfCpltCallback(ADC_HandleTypeDef *hadc)
{
	{
		//uint8_t tx[] = "HAL_ADC_ConvHalfCpltCallback()\r\n";
		//HAL_UART_Transmit(&huart3, tx, sizeof(tx), 100);
	}
}

/**
 * @brief  Error ADC callback.
 * @note   In case of error due to overrun when using ADC with DMA transfer
 *         (HAL ADC handle parameter "ErrorCode" to state "HAL_ADC_ERROR_OVR"):
 *         - Reinitialize the DMA using function "HAL_ADC_Stop_DMA()".
 *         - If needed, restart a new ADC conversion using function
 *           "HAL_ADC_Start_DMA()"
 *           (this function is also clearing overrun flag)
 * @param  hadc pointer to a ADC_HandleTypeDef structure that contains
 *         the configuration information for the specified ADC.
 * @retval None
 */
void HAL_ADC_ErrorCallback(ADC_HandleTypeDef *hadc)
{
	{
		const char *ers[] =	{
				"No error",
				"ADC IP internal error: if problem of clocking, enable/disable, erroneous state",
				"Overrun error",
				"DMA transfer error",
				"Invalid Callback error"
		};

		uint32_t error_code =  HAL_ADC_GetError(hadc);

		char erm[120] = "ADC Error:";
		if (error_code & HAL_ADC_ERROR_NONE)
			sprintf(erm, "%s %s," ,erm, ers[0]);
		if (error_code & HAL_ADC_ERROR_INTERNAL)
			sprintf(erm, "%s %s," ,erm, ers[1]);
		if (error_code & HAL_ADC_ERROR_OVR)
			sprintf(erm, "%s %s," ,erm, ers[2]);
		if (error_code & HAL_ADC_ERROR_DMA)
			sprintf(erm, "%s %s," ,erm, ers[3]);
		if (error_code & 0x10U) //HAL_ADC_ERROR_INVALID_CALLBACK)
			sprintf(erm, "%s %s," ,erm, ers[3]);

		uint8_t tx[] = "HAL_ADC_ErrorCallback()\r\n";
		HAL_UART_Transmit(&huart3, tx, sizeof(tx), 100);

		uint8_t txe[100];
		sprintf(txe, "ADC Error 0x%X(%d): %s\r\nSR: 0x%X DMA ErrCode: 0x%X\r\n", error_code, error_code, erm, hadc->Instance->SR, hadc->DMA_Handle->ErrorCode);
		HAL_UART_Transmit(&huart3, txe, strlen(txe), 100);
	}
}

void HAL_SPI_TxCpltCallback(SPI_HandleTypeDef *hspi)
{
	{
		GLOBAL_VAR_32BIT++;
		uint8_t tx[] = "HAL_SPI_TxCpltCallback()";
		HAL_UART_Transmit(&huart3, tx, sizeof(tx), 100);
		uint8_t txe[30];
		sprintf(txe, " count: %d\r\n",GLOBAL_VAR_32BIT);
		HAL_UART_Transmit(&huart3, txe, strlen(txe), 100);
	}
}

void HAL_SPI_TxHalfCpltCallback(SPI_HandleTypeDef *hspi)
{
	{
		uint8_t tx[] = "HAL_SPI_TxHalfCpltCallback()\r\n";
		HAL_UART_Transmit(&huart3, tx, sizeof(tx), 100);
	}
}

void HAL_SPI_TxRxHalfCpltCallback(SPI_HandleTypeDef *hspi)
{
	{
		uint8_t tx[] = "HAL_SPI_TxRxHalfCpltCallback()\r\n";
		HAL_UART_Transmit(&huart3, tx, sizeof(tx), 100);
	}
}

void HAL_SPI_ErrorCallback(SPI_HandleTypeDef *hspi)
{
	{
		const char *ers[] =	{
				"No error",
				"MODF error",
				"CRC error",
				"OVR error",
				"FRE error",
				"DMA transfer error",
				"Error on RXNE/TXE/BSY/FTLVL/FRLVL Flag",
				"Error during SPI Abort procedure"
		};

		uint32_t error_code = HAL_SPI_GetError(hspi);

		char erm[100] = "SPI Error:";
		if (error_code & HAL_SPI_ERROR_NONE)
			sprintf(erm, "%s %s," ,erm, ers[0]);
		if (error_code & HAL_SPI_ERROR_MODF)
			sprintf(erm, "%s %s," ,erm, ers[1]);
		if (error_code & HAL_SPI_ERROR_CRC)
			sprintf(erm, "%s %s," ,erm, ers[2]);
		if (error_code & HAL_SPI_ERROR_OVR)
			sprintf(erm, "%s %s," ,erm, ers[3]);
		if (error_code & HAL_SPI_ERROR_FRE)
			sprintf(erm, "%s %s," ,erm, ers[4]);
		if (error_code & HAL_SPI_ERROR_DMA)
			sprintf(erm, "%s %s," ,erm, ers[5]);
		if (error_code & HAL_SPI_ERROR_FLAG)
			sprintf(erm, "%s %s," ,erm, ers[6]);
		if (error_code & HAL_SPI_ERROR_ABORT)
			sprintf(erm, "%s %s," ,erm, ers[7]);

		uint8_t tx[] = "HAL_SPI_ErrorCallback()\r\n";
		HAL_UART_Transmit(&huart3, tx, sizeof(tx), 100);

		uint8_t txe[100];
		sprintf(txe, "SPI Error 0x%X(%d): %s\r\nSR: 0x%X DMA ErrCode: 0x%X\r\n", error_code, error_code, erm, hspi->Instance->SR, hspi->hdmatx->ErrorCode);
		HAL_UART_Transmit(&huart3, txe, strlen(txe), 100);
	}
}
/* USER CODE END 4 */

void Error_Handler(void)
{
  /* USER CODE BEGIN Error_Handler_Debug */
	/* User can add his own implementation to report the HAL error return state */
	__disable_irq();
	uint8_t tx[] = "(!!) DEBUG: Error_Handler()\r\n";
	HAL_UART_Transmit(&huart3, tx, sizeof(tx), 100);
	ST7789_Fill_Color(RED);
	ST7789_WriteString(50, 50, "! ERROR !", Font_11x18, YELLOW, RED);
	GPIO_PinState PS_Error = GPIO_PIN_RESET;
	while (1)
	{
		HAL_GPIO_WritePin(LD3_GPIO_Port, LD3_Pin, PS_Error);
		PS_Error = !PS_Error;
		HAL_Delay(250);
	}
  /* USER CODE END Error_Handler_Debug */
}
